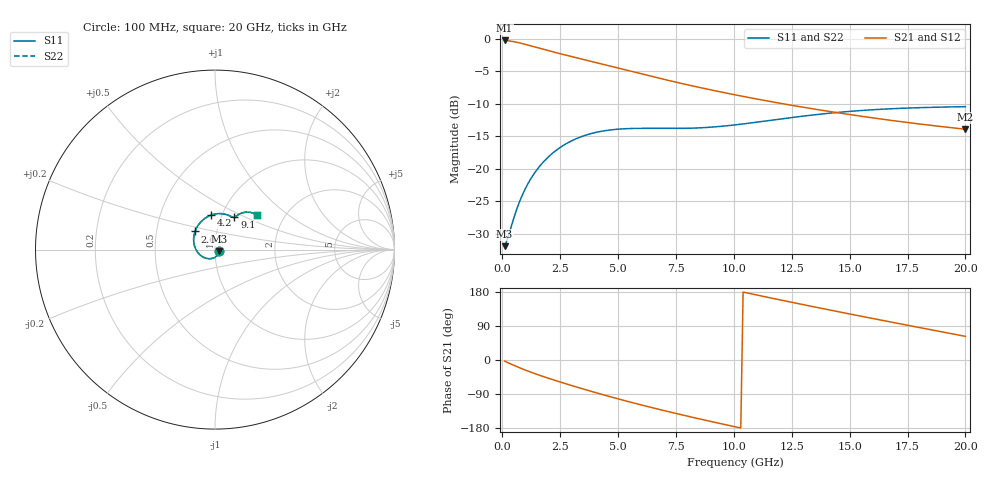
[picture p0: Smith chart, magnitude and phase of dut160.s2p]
! Touchstone file exported from HFSS 2023.1.0
!  File:  D:/Users/fzz/RDL_TSV/temp_RDL_TSV_160_1778753540.aedt
!  Generated:  6:22:26 %x4E0B%x5348  5%x6708 14, 2026
!  Design:  RDL_TSV
!  Project:  temp_RDL_TSV_160_1778753540
!  Setup:  Setup1
!  Solution:  Sweep
! Variables:
!  dtsv = 19.55um
!  hbump = 3um
!  htsv = 97.26um
!  ldown = 437.95um
!  lrdl = 589.99um
!  p = 40
!  p1 = 51.12um
!  rhole = 10um
!  subl = 3673.81um
!  t = 450um
!  tdown = 2.55um
!  trdl = 2.76um
!  viad = 10um
!  wdown = 13.78um
!  wrdl = 25.99um
!  xbump = 18um
# GHz S MA R 50.000000
! Terminal data exported
! Port[1] = TM1_1_T1
! Port[2] = TM1_4_T1
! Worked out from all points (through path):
!   200 points, 100 MHz to 20 GHz, reference 50 ohm
!   highest |S21| = -0.23 dB at 100 MHz (marker M1); lowest = -13.9 dB at 20 GHz (marker M2)
!   group delay of S21, straight-line fit = 39.1 ps
!   lowest |S11| = -31.9 dB at 100 MHz (marker M3), VSWR 1.05, Z = 52.4 - j0.969 ohm
!   |S11| at or under -10 dB: start of sweep to end of sweep
!   |S22| runs from -31.9 to -10.4 dB; largest |S21 - S12| = 9.9e-15
!   S11 on the Smith chart (normalised r, x): 100 MHz: 1.05, -0.02; 2.6 GHz: 0.79, +0.16; 4.2 GHz: 0.89, +0.36; 9.1 GHz: 1.16, +0.44; 20 GHz: 1.45, +0.61
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0.1  0.02543 -21.3  0.9744 -2.9  0.9744 -2.9  0.02543 -21.3
! Gamma 0 0 0 0
! Port Impedance 50 0 50 0
0.2  0.02808 -41.2  0.9712 -5.8  0.9712 -5.8  0.02808 -41.2
0.4  0.03675 -74.3  0.9605 -11.4  0.9605 -11.4  0.03675 -74.3
0.7  0.05329 -110.7  0.937 -19.3  0.937 -19.3  0.05329 -110.6
0.9  0.06492 -129.5  0.9183 -24.3  0.9183 -24.3  0.06493 -129.5
1.2  0.0822 -152.9  0.8883 -31.4  0.8883 -31.4  0.08221 -152.9
1.5  0.09879 -172.3  0.8584 -38.0  0.8584 -38.0  0.0988 -172.3
1.9  0.1194 166.4  0.8209 -46.3  0.8209 -46.3  0.1194 166.4
2.6  0.1503 137.7  0.7622 -60.0  0.7622 -60.0  0.1504 137.7
3.5  0.1794 111.3  0.6956 -76.7  0.6956 -76.7  0.1794 111.3
4.2  0.1936 96.1  0.6478 -89.0  0.6478 -89.0  0.1936 96.1
4.9  0.2015 84.4  0.603 -100.9  0.603 -100.9  0.2015 84.4
5.5  0.2045 76.7  0.567 -110.7  0.567 -110.7  0.2046 76.7
6.8  0.205 65.8  0.4977 -130.8  0.4977 -130.8  0.2051 65.8
7.9  0.2052 61.2  0.4481 -146.8  0.4481 -146.8  0.2053 61.2
9.1  0.2101 59.0  0.4025 -163.5  0.4025 -163.5  0.2102 59.0
10.1  0.2187 57.9  0.3702 -176.9  0.3702 -176.9  0.2188 57.9
11.7  0.238 55.8  0.3271 162.4  0.3271 162.4  0.2382 55.8
13.4  0.26 52.5  0.2902 141.0  0.2902 141.0  0.2602 52.5
15  0.2772 48.9  0.2621 121.5  0.2621 121.5  0.2776 48.8
16.7  0.2899 45.1  0.2376 101.2  0.2376 101.2  0.2904 45.0
20  0.3015 39.6  0.202 62.4  0.202 62.4  0.3021 39.5
